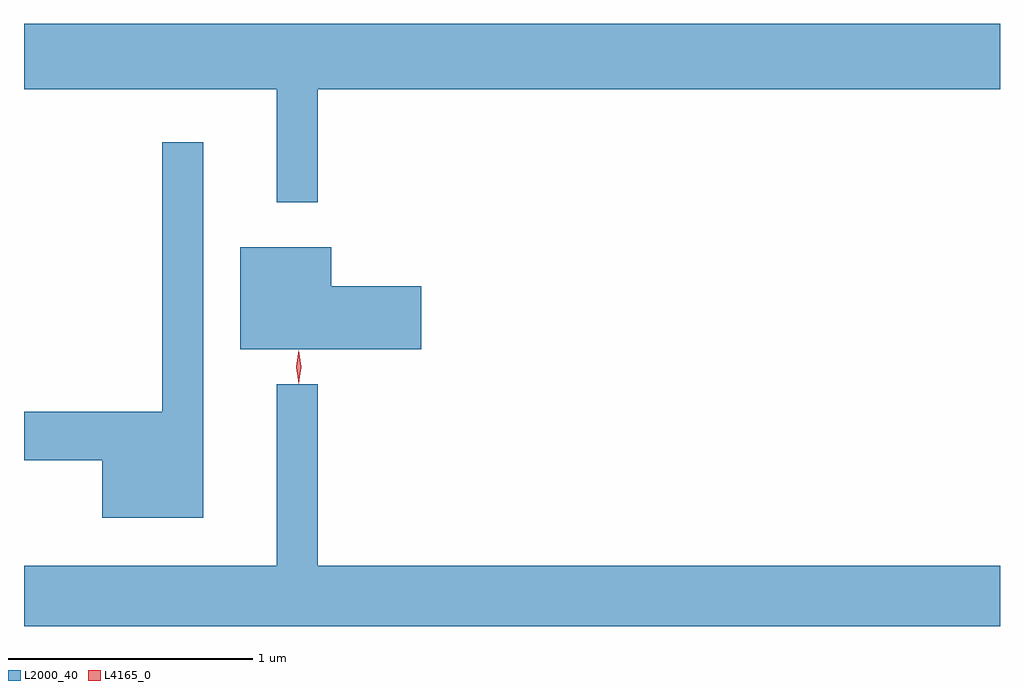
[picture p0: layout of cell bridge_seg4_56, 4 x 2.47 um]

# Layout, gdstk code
import gdstk
lib = gdstk.Library(unit=1e-6, precision=1e-09)
def P(c, l, *ps):  # polygons
    for p in ps: c.add(gdstk.Polygon(p, *l))
L2000_40 = (2000, 40)
L4165_0 = (4165, 0)

bridge_seg4_56 = lib.new_cell('bridge_seg4_56')
P(bridge_seg4_56, L2000_40, [(1296.579,1330.256),(1299.375,1330.256),(1299.375,1330.524),(1295.375,1330.524),(1295.375,1330.256),(1296.411,1330.256),(1296.411,1329.793),(1296.579,1329.793)],
  [(1296.109,1330.038),(1295.941,1330.038),(1295.941,1328.934),(1295.375,1328.934),(1295.375,1328.736),(1295.696,1328.736),(1295.696,1328.501),(1296.109,1328.501)],
  [(1297.004,1329.449),(1296.634,1329.449),(1296.634,1329.609),(1296.261,1329.609),(1296.261,1329.191),(1297.004,1329.191)],
  [(1299.375,1328.304),(1296.579,1328.304),(1296.579,1329.048),(1296.411,1329.048),(1296.411,1328.304),(1295.375,1328.304),(1295.375,1328.056),(1299.375,1328.056)])
P(bridge_seg4_56, L4165_0, [(1296.5,1329.053),(1296.5,1329.053),(1296.491,1329.116),(1296.501,1329.179),(1296.502,1329.18),(1296.502,1329.179),(1296.511,1329.116),(1296.5,1329.053)],
  [(1296.5,1329.05),(1296.5,1329.05),(1296.491,1329.118),(1296.501,1329.186),(1296.502,1329.186),(1296.502,1329.186),(1296.511,1329.118),(1296.5,1329.05)])

lib.write_gds('bridge_seg4_56.gds')
